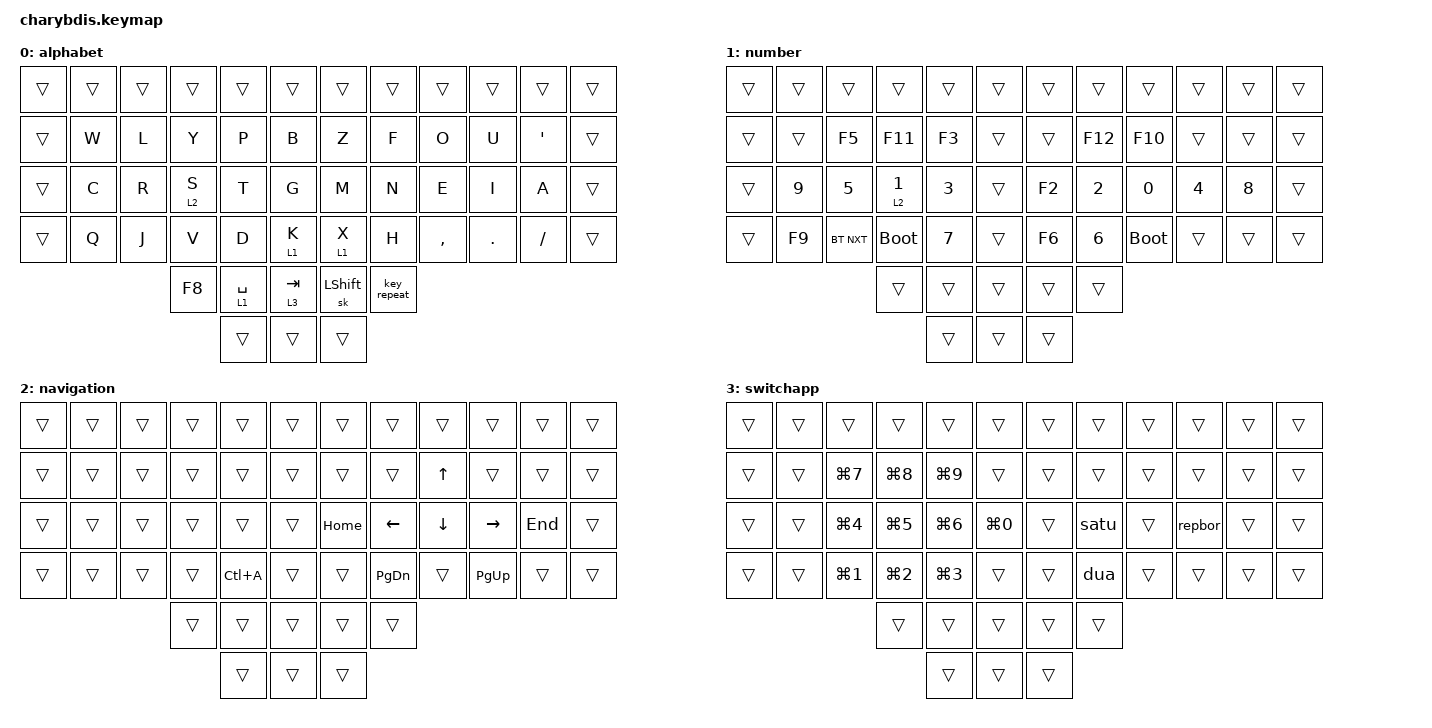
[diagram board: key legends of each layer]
#include <dt-bindings/zmk/mouse.h>
#include <behaviors.dtsi>
#include <dt-bindings/zmk/bt.h>
#include <dt-bindings/zmk/keys.h>

&sk { quick-release; };

&mt {
    require-prior-idle-ms = <125>;
    flavor = "tap-unless-interrupted";
};

/ {
    ZMK_MACRO(

    num_gui,

    bindings =
        <&macro_press &mo 3 &kp LGUI>,
        <&macro_pause_for_release>,
        <&macro_release &mo 3 &kp LGUI>;

    )

    combos {
        compatible = "zmk,combos";

        escc {
            bindings = <&kp ESC>;
            key-positions = <38 27>;
        };

        rightclick {
            bindings = <&rightclick>;
            key-positions = <44 45>;
        };

        backspace {
            bindings = <&kp BACKSPACE>;
            key-positions = <31 43>;
        };

        undo {
            bindings = <&kp LC(Z)>;
            key-positions = <16 15>;
        };

        copy {
            bindings = <&kp LC(C)>;
            key-positions = <26 27>;
        };

        paste {
            bindings = <&kp LC(V)>;
            key-positions = <27 28>;
        };

        cut {
            bindings = <&kp LC(X)>;
            key-positions = <26 27 25>;
        };

        btclear {
            bindings = <&bt BT_CLR>;
            key-positions = <28 29 30 31>;
        };

        stickyctrl {
            bindings = <&sk LCTRL>;
            key-positions = <15 27>;
        };

        stickyalt {
            bindings = <&sk LEFT_ALT>;
            key-positions = <16 28>;
        };

        ctrlbackspace {
            bindings = <&kp LC(BACKSPACE)>;
            key-positions = <31 32 33>;
        };

        enter {
            bindings = <&kp ENTER>;
            key-positions = <51 52>;
        };

        btone {
            bindings = <&bt BT_SEL 0>;
            key-positions = <13 25>;
        };

        bttwo {
            bindings = <&kp ENTER>;
            key-positions = <22 34>;
        };

        rightnter {
            bindings = <&kp ENTER>;
            key-positions = <49 50>;
        };

        parenthesisleft {
            bindings = <&mt LEFT_BRACE LEFT_PARENTHESIS>;
            key-positions = <49 26>;
        };

        parenthesisright {
            bindings = <&mt RIGHT_BRACKET RIGHT_PARENTHESIS>;
            key-positions = <52 33>;
        };

        colon {
            bindings = <&kp COLON>;
            key-positions = <52 31>;
        };

        semicolon {
            bindings = <&kp SEMI>;
            key-positions = <52 46>;
        };

        underscore {
            bindings = <&kp UNDER>;
            key-positions = <43 45>;
        };

        minus {
            bindings = <&kp MINUS>;
            key-positions = <43 44>;
        };

        at {
            bindings = <&kp AT>;
            key-positions = <45 32>;
        };

        editorfocus {
            bindings = <&kp LC(E)>;
            key-positions = <15 28>;
        };

        windows {
            bindings = <&sk LGUI>;
            key-positions = <38 39 40>;
        };

        insert {
            bindings = <&kp INSERT>;
            key-positions = <49 37>;
        };

        calcrel {
            bindings = <&mt LC(R) LC(D)>;
            key-positions = <15 26>;
        };

        capture {
            bindings = <&kp LG(LS(S))>;
            key-positions = <13 14>;
        };

        altzero {
            bindings = <&altzero>;
            key-positions = <14 15>;
        };

        closetab {
            bindings = <&kp LC(W)>;
            key-positions = <38 39>;
        };

        redoo {
            bindings = <&kp LC(Y)>;
            key-positions = <14 15 16>;
        };

        delete {
            bindings = <&kp DELETE>;
            key-positions = <40 39>;
        };

        f9 {
            bindings = <&kp F9>;
            key-positions = <49 48>;
        };

        value {
            bindings = <&value>;
            key-positions = <21 33>;
        };
    };

    macros {
        info: info {
            compatible = "zmk,behavior-macro";
            #binding-cells = <0>;
            bindings = <&kp I &kp N &kp F &kp O &kp LPAR &kp SQT &kp FSLH &kp FSLH &kp SQT &kp RPAR &kp LEFT>;
            label = "INFO";
        };

        statement: statement {
            compatible = "zmk,behavior-macro";
            #binding-cells = <0>;
            bindings = <&kp RET &kp LEFT_BRACE &kp RET &kp RBRC &kp UP_ARROW &kp ENTER>;
            label = "STATEMENT";
        };

        value: value {
            compatible = "zmk,behavior-macro";
            #binding-cells = <0>;
            bindings = <&kp LS(V) &kp LS(A) &kp LS(L) &kp LS(U) &kp LS(E) &kp LPAR &kp O &kp B &kp J &kp E &kp C &kp T>;
            label = "VALUE";
        };

        altone: altone {
            compatible = "zmk,behavior-macro";
            #binding-cells = <0>;
            bindings = <&sk LEFT_ALT &kp NUMBER_1>;
            label = "ALTONE";
        };

        altzero: altzero {
            compatible = "zmk,behavior-macro";
            #binding-cells = <0>;
            bindings = <&sk LEFT_ALT &kp N0>;
            label = "ALTZERO";
        };

        alta: alta {
            compatible = "zmk,behavior-macro";
            #binding-cells = <0>;
            bindings = <&sk LEFT_ALT &kp A>;
            label = "ALTA";
        };

        alttwo: alttwo {
            compatible = "zmk,behavior-macro";
            #binding-cells = <0>;
            bindings = <&sk LEFT_ALT &kp NUMBER_2>;
            label = "ALTTWO";
        };

        altup: altup {
            compatible = "zmk,behavior-macro";
            #binding-cells = <0>;
            bindings = <&sk LEFT_ALT &kp UP_ARROW>;
            label = "ALTUP";
        };

        altdown: altdown {
            compatible = "zmk,behavior-macro";
            #binding-cells = <0>;
            bindings = <&sk LEFT_ALT &kp DOWN>;
            label = "ALTDOWN";
        };

        althome: althome {
            compatible = "zmk,behavior-macro";
            #binding-cells = <0>;
            bindings = <&sk LEFT_ALT &kp HOME>;
            label = "ALTHOME";
        };

        altleft: altleft {
            compatible = "zmk,behavior-macro";
            #binding-cells = <0>;
            bindings = <&sk LEFT_ALT &kp LEFT>;
            label = "ALTLEFT";
        };

        leftclick: leftclick {
            compatible = "zmk,behavior-macro";
            #binding-cells = <0>;
            bindings = <&kp KP_DIVIDE &kp KP_N5>;
            label = "LEFTCLICK";
        };

        rightclick: rightclick {
            compatible = "zmk,behavior-macro";
            #binding-cells = <0>;
            bindings = <&kp KP_SUBTRACT &kp KP_N5>;
            label = "RIGHTCLICK";
        };

        repbor: repbor {
            compatible = "zmk,behavior-macro";
            #binding-cells = <0>;
            bindings = <&kp LS(C) &kp N4 &kp LS(G) &kp LS(K) &kp P &kp LS(T) &kp LS(H) &kp LS(S) &kp LS(I) &kp N &kp L &kp M &kp LS(I) &kp N9 &kp LS(Z) &kp U &kp N &kp N4 &kp LS(A) &kp LS(J) &kp E &kp LS(M) &kp J &kp LS(V) &kp LS(M) &kp N2 &kp N4 &kp N5 &kp N6 &kp N3 &kp N2 &kp D &kp LS(F) &kp LS(Y) &kp LS(I) &kp LS(N) &kp N0 &kp LS(X) &kp B &kp S &kp LS(Y) &kp E &kp J &kp C &kp I &kp N5 &kp N9 &kp F &kp LS(Z) &kp LS(T) &kp U &kp N0 &kp LS(J) &kp LS(Q) &kp LS(Q) &kp LS(J) &kp N9 &kp N9 &kp LS(B) &kp LS(D) &kp LS(A) &kp LS(C) &kp LS(A) &kp LS(A) &kp LS(A) &kp LS(A) &kp LS(A) &kp LS(I) &kp LS(A) &kp LS(Y) &kp N &kp LS(K) &kp LS(A) &kp LS(A) &kp LS(A) &kp LS(S) &kp LS(A) &kp LS(Z) &kp LS(D) &kp LS(O) &kp N2 &kp L &kp D &kp LS(M)>;
            label = "REPBOR";
        };

        satu: satu {
            compatible = "zmk,behavior-macro";
            #binding-cells = <0>;
            bindings = <&kp LS(S) &kp R &kp U &kp T &kp H &kp L &kp E &kp S &kp D &kp O &kp P &kp A &kp M &kp I &kp N &kp E &kp S &kp T &kp A &kp T &kp E &kp DLLR &kp PRCNT &kp CARET &kp PLUS>;
            label = "SATU";
        };

        dua: dua {
            compatible = "zmk,behavior-macro";
            #binding-cells = <0>;
            bindings = <&kp LS(S) &kp Y &kp N &kp C &kp H &kp R &kp O &kp N &kp I &kp Z &kp E &kp U &kp P &kp G &kp R &kp A &kp D &kp E &kp A &kp B &kp I &kp L &kp I &kp T &kp Y &kp DLLR &kp PRCNT &kp CARET &kp PLUS>;
            label = "DUA";
        };
    };

    behaviors {
        switcherclick: switcherclick {
            compatible = "zmk,behavior-hold-tap";
            label = "SWITCHERCLICK";
            bindings = <&mo>, <&leftclick>;

            #binding-cells = <2>;
            flavor = "tap-unless-interrupted";
            tapping-term-ms = <300>;
        };
    };

    keymap {
        compatible = "zmk,keymap";

        alphabet {
            bindings = <
&trans  &trans  &trans  &trans   &trans       &trans       &trans          &trans       &trans     &trans      &trans     &trans
&trans  &kp W   &kp L   &kp Y    &kp P        &kp B        &kp Z           &kp F        &kp O      &kp U       &kp SQT    &trans
&trans  &kp C   &kp R   &lt 2 S  &kp T        &kp G        &kp M           &kp N        &kp E      &kp I       &kp A      &trans
&trans  &kp Q   &kp J   &kp V    &kp D        &lt 1 K      &lt 1 X         &kp H        &kp COMMA  &kp PERIOD  &kp SLASH  &trans
                        &kp F8   &lt 1 SPACE  &lt 3 TAB    &sk LEFT_SHIFT  &key_repeat
                                 &trans       &trans       &trans
            >;
  trackball-bindings = <&tmv_coarse>;
        };

        number {
            bindings = <
&trans  &trans  &trans      &trans          &trans        &trans    &trans  &trans        &trans       &trans        &trans  &trans
&trans  &trans  &kp F5      &kp F11         &kp F3        &trans    &trans  &kp F12       &kp F10      &trans        &trans  &trans
&trans  &kp N9  &kp N5      &lt 2 NUMBER_1  &kp NUMBER_3  &trans    &kp F2  &kp NUMBER_2  &kp N0       &kp NUMBER_4  &kp N8  &trans
&trans  &kp F9  &bt BT_NXT  &bootloader     &kp N7        &trans    &kp F6  &kp NUMBER_6  &bootloader  &trans        &trans  &trans
                            &trans          &trans        &trans    &trans  &trans
                                            &trans        &trans    &trans
            >;
        };

        navigation {
            bindings = <
&trans  &trans  &trans  &trans  &trans     &trans    &trans    &trans         &trans        &trans       &trans   &trans
&trans  &trans  &trans  &trans  &trans     &trans    &trans    &trans         &kp UP_ARROW  &trans       &trans   &trans
&trans  &trans  &trans  &trans  &trans     &trans    &kp HOME  &kp LEFT       &kp DOWN      &kp RIGHT    &kp END  &trans
&trans  &trans  &trans  &trans  &kp LC(A)  &trans    &trans    &kp PAGE_DOWN  &trans        &kp PAGE_UP  &trans   &trans
                        &trans  &trans     &trans    &trans    &trans
                                &trans     &trans    &trans
            >;
        };

        switchapp {
            bindings = <
&trans  &trans  &trans            &trans            &trans            &trans        &trans  &trans  &trans  &trans   &trans  &trans
&trans  &trans  &kp LG(N7)        &kp LG(N8)        &kp LG(N9)        &trans        &trans  &trans  &trans  &trans   &trans  &trans
&trans  &trans  &kp LG(NUMBER_4)  &kp LG(N5)        &kp LG(NUMBER_6)  &kp LG(N0)    &trans  &satu   &trans  &repbor  &trans  &trans
&trans  &trans  &kp LG(NUMBER_1)  &kp LG(NUMBER_2)  &kp LG(NUMBER_3)  &trans        &trans  &dua    &trans  &trans   &trans  &trans
                                  &trans            &trans            &trans        &trans  &trans
                                                    &trans            &trans        &trans
            >;
        };
    };
};
